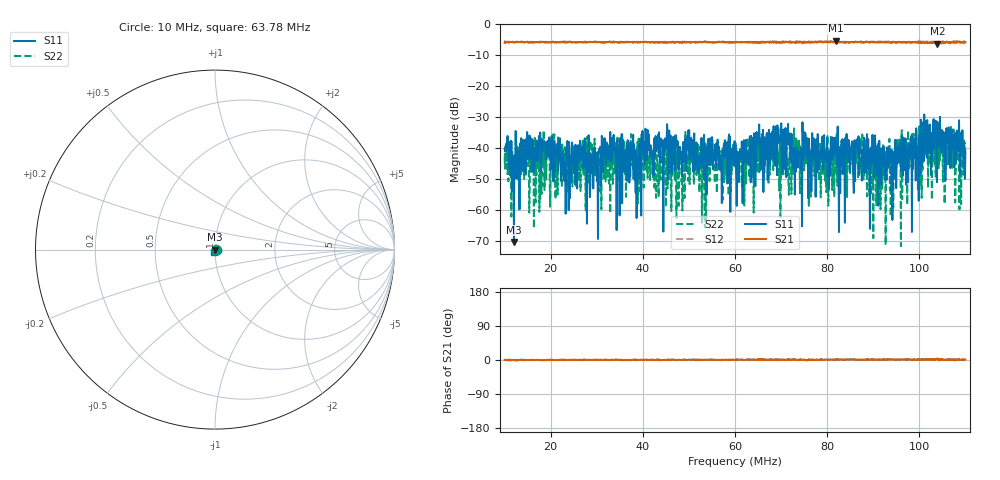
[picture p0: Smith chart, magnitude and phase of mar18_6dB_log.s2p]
! Anritsu VNA Master:  Model: MS2036C/10/77
! SN:  1601066
! /card0/usr/mar18_6dB_log.s2p
! Existing Calibration Information:
! TYPE:  Current Settings,  Active Cal Settings
! TIME:  03/18/2016 01:41:12 PM,  03/18/2016 01:23:09 PM
! INTERNAL TEMP:  47.8 C,  46.8 C
! # POINTS:  1087,  1087
! START FREQ:  10.000 MHz,  5.000 kHz
! STOP FREQ:  110.000 MHz,  6.000 GHz
! SOURCE POWER:  Low,  Low
! IFBW:  1 kHz,  1 kHz
! AVG FACTOR:  1 ,  1
! REF PLANE 1:  -6.095 mm,  -6.095 mm
! REF PLANE 2:  0 mm,  0 mm
! CAL TYPE:  Full 2 Port,  Full 2 Port
! CAL METHOD:  SOLT,  SOLT
! CAL LINE TYPE:  Coax,  Coax
! DUT PORT 1:  K-Conn(M),  K-Conn(M)
! DUT PORT 2:  N-Conn(M),  N-Conn(M)
! CAL STATUS:  OK: Accuracy High,  --
# GHZ S DB R 50.0
! FREQ.GHZ  S11DB  S11A  S21DB  S21A  S12DB  S12A  S22DB  S22A
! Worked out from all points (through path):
!   1087 points, 10 MHz to 110 MHz, reference 50 ohm
!   highest |S21| = -5.33 dB at 81.82 MHz (marker M1); lowest = -6.2 dB at 103.9 MHz (marker M2)
!   lowest |S11| = -70.2 dB at 12.03 MHz (marker M3), VSWR 1.00, Z = 50 - j0.0185 ohm
!   |S11| at or under -10 dB: start of sweep to end of sweep
!   |S22| runs from -71.5 to -32.8 dB; largest |S21 - S12| = 0.049
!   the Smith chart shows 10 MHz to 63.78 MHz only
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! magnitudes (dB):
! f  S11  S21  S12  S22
! 10 MHz  -40.2  -6.0  -5.8  -42.7
! 12.03 MHz  -70.2  -5.8  -5.9  -44.0
! 15.34 MHz  -36.7  -5.9  -5.9  -60.7
! 22.8 MHz  -46.4  -5.7  -5.5  -46.4
! 26.67 MHz  -43.1  -5.7  -5.7  -44.0
! 28.78 MHz  -43.4  -5.7  -5.8  -37.8
! 33.39 MHz  -37.5  -5.8  -5.8  -45.2
! 38.64 MHz  -62.5  -5.7  -5.7  -53.8
! 40.2 MHz  -42.1  -5.8  -5.5  -52.6
! 43.43 MHz  -41.5  -5.9  -5.7  -55.8
! 50.42 MHz  -36.6  -5.7  -5.9  -41.3
! 53.28 MHz  -35.6  -5.7  -5.7  -46.1
! 55.03 MHz  -36.4  -5.9  -5.8  -39.6
! 60 MHz  -45.8  -5.8  -5.9  -41.9
! 69.67 MHz  -36.2  -5.7  -5.7  -45.8
! 73.44 MHz  -39.9  -5.7  -5.8  -43.4
! 76.67 MHz  -38.7  -5.8  -5.8  -47.4
! 81.82 MHz  -42.0  -5.3  -5.7  -41.2
! 93.43 MHz  -40.2  -5.7  -5.5  -43.2
! 97.11 MHz  -51.7  -5.8  -5.9  -42.9
! 103.9 MHz  -31.5  -6.2  -5.7  -42.9
! 110 MHz  -40.7  -5.8  -5.9  -38.5
